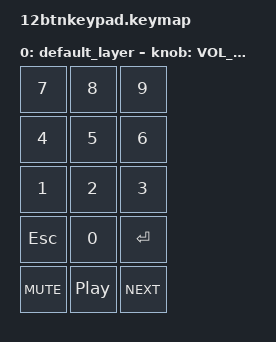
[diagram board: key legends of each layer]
#include <behaviors.dtsi>
#include <dt-bindings/zmk/keys.h>
#include <dt-bindings/zmk/bt.h>

/ {
    keymap {
        compatible = "zmk,keymap";
        
        default_layer {
            bindings = <
                &kp N7    &kp N8    &kp N9
                &kp N4    &kp N5    &kp N6
                &kp N1    &kp N2    &kp N3
                &kp ESC   &kp N0    &kp ENTER
                
                // Encoder buttons
                &kp C_MUTE &kp C_PP &kp C_NEXT
            >;

            sensor-bindings = <
                &inc_dec_kp C_VOL_UP C_VOL_DN
                &inc_dec_kp PG_UP PG_DN
                &inc_dec_kp RIGHT LEFT
            >;
        };
    };
};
